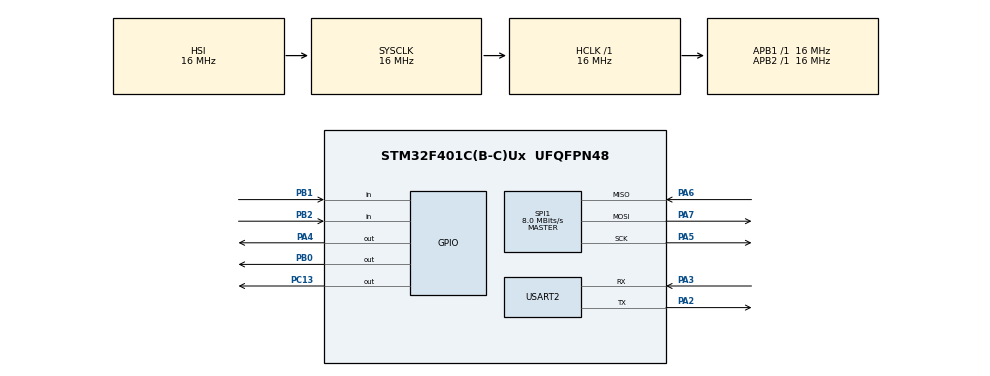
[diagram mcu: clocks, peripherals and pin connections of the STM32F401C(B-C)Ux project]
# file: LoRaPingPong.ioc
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Mcu.Family=STM32F4
Mcu.Name=STM32F401C(B-C)Ux
Mcu.Package=UFQFPN48
NVIC.PriorityGroup=NVIC_PRIORITYGROUP_4
PA2.Mode=Asynchronous
PA2.Signal=USART2_TX
PA3.Mode=Asynchronous
PA3.Signal=USART2_RX
PA4.Signal=GPIO_Output
PA5.Mode=Full_Duplex_Master
PA5.Signal=SPI1_SCK
PA6.Mode=Full_Duplex_Master
PA6.Signal=SPI1_MISO
PA7.Mode=Full_Duplex_Master
PA7.Signal=SPI1_MOSI
PB0.Signal=GPIO_Output
PB1.Signal=GPIO_Input
PB2.Signal=GPIO_Input
PC13-ANTI_TAMP.Signal=GPIO_Output
PH0\ -\ OSC_IN.Mode=HSE-External-Oscillator
PH0\ -\ OSC_IN.Signal=RCC_OSC_IN
PH1\ -\ OSC_OUT.Mode=HSE-External-Oscillator
PH1\ -\ OSC_OUT.Signal=RCC_OSC_OUT
ProjectManager.HeapSize=0x200
ProjectManager.StackSize=0x400
ProjectManager.TargetToolchain=STM32CubeIDE
RCC.48MHZClocksFreq_Value=67200000
RCC.AHBFreq_Value=16000000
RCC.APB1Freq_Value=16000000
RCC.APB1TimFreq_Value=16000000
RCC.APB2Freq_Value=16000000
RCC.APB2TimFreq_Value=16000000
RCC.CortexFreq_Value=16000000
RCC.HCLKFreq_Value=16000000
RCC.HSE_VALUE=20000000
RCC.HSI_VALUE=16000000
RCC.LSE_VALUE=32768
RCC.PLLM=20
RCC.PLLN=336
RCC.PLLP=RCC_PLLP_DIV4
RCC.SYSCLKFreq_VALUE=16000000
RCC.VCOOutputFreq_Value=268800000
SPI1.BaudRatePrescaler=SPI_BAUDRATEPRESCALER_2
SPI1.CRCCalculation=SPI_CRCCALCULATION_DISABLE
SPI1.CalculateBaudRate=8.0 MBits/s
SPI1.Direction=SPI_DIRECTION_2LINES
SPI1.Mode=SPI_MODE_MASTER
SPI1.VirtualType=VM_MASTER
USART2.VirtualMode=VM_ASYNC
VP_CRC_VS_CRC.Mode=CRC_Activate
board=custom

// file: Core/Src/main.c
/* USER CODE BEGIN Header */
/**
  ******************************************************************************
  * @file           : main.c
  * @brief          : Main program body
  ******************************************************************************
  * @attention
  *
  * Copyright (c) 2026 STMicroelectronics.
  * All rights reserved.
  *
  * This software is licensed under terms that can be found in the LICENSE file
  * in the root directory of this software component.
  * If no LICENSE file comes with this software, it is provided AS-IS.
  *
  ******************************************************************************
  */
/* USER CODE END Header */
#include "main.h"

/* USER CODE BEGIN Includes */
#include "link.h"
#include <stdio.h>
#include <string.h>
/* USER CODE END Includes */

CRC_HandleTypeDef hcrc;

SPI_HandleTypeDef hspi1;

UART_HandleTypeDef huart2;

void SystemClock_Config(void);
static void MX_GPIO_Init(void);
static void MX_CRC_Init(void);
static void MX_SPI1_Init(void);
static void MX_USART2_UART_Init(void);

/* USER CODE BEGIN 0 */
/* ── Retarget printf → UART2 ────────────────────────────────── */
int __io_putchar(int ch)
{
    HAL_UART_Transmit(&huart2, (uint8_t *)&ch, 1, HAL_MAX_DELAY);
    return ch;
}
/* USER CODE END 0 */

int main(void)
{

  /* MCU Configuration--------------------------------------------------------*/

  /* Reset of all peripherals, Initializes the Flash interface and the Systick. */
  HAL_Init();

  /* Configure the system clock */
  SystemClock_Config();

  /* Initialize all configured peripherals */
  MX_GPIO_Init();
  MX_CRC_Init();
  MX_SPI1_Init();
  MX_USART2_UART_Init();
  /* USER CODE BEGIN 2 */
#ifdef NodeA
  node_a_init();
#elif defined(NodeB)
  node_b_init();
#else
#error "NODE_A or NODE_B not defined!"
#endif
  /* USER CODE END 2 */

  /* Infinite loop */
  /* USER CODE BEGIN WHILE */
  while (1)
  {
#ifdef NodeA
	  node_a_loop();
#elif defined(NodeB)
	  node_b_loop();
#else
#error "NODE_A or NODE_B not defined!"
#endif
    /* USER CODE END WHILE */

  }
}

void SystemClock_Config(void)
{
  RCC_OscInitTypeDef RCC_OscInitStruct = {0};
  RCC_ClkInitTypeDef RCC_ClkInitStruct = {0};

  /** Configure the main internal regulator output voltage
  */
  __HAL_RCC_PWR_CLK_ENABLE();
  __HAL_PWR_VOLTAGESCALING_CONFIG(PWR_REGULATOR_VOLTAGE_SCALE2);

  /** Initializes the RCC Oscillators according to the specified parameters
  * in the RCC_OscInitTypeDef structure.
  */
  RCC_OscInitStruct.OscillatorType = RCC_OSCILLATORTYPE_HSI;
  RCC_OscInitStruct.HSIState = RCC_HSI_ON;
  RCC_OscInitStruct.HSICalibrationValue = RCC_HSICALIBRATION_DEFAULT;
  RCC_OscInitStruct.PLL.PLLState = RCC_PLL_NONE;
  if (HAL_RCC_OscConfig(&RCC_OscInitStruct) != HAL_OK)
  {
    Error_Handler();
  }

  /** Initializes the CPU, AHB and APB buses clocks
  */
  RCC_ClkInitStruct.ClockType = RCC_CLOCKTYPE_HCLK|RCC_CLOCKTYPE_SYSCLK
                              |RCC_CLOCKTYPE_PCLK1|RCC_CLOCKTYPE_PCLK2;
  RCC_ClkInitStruct.SYSCLKSource = RCC_SYSCLKSOURCE_HSI;
  RCC_ClkInitStruct.AHBCLKDivider = RCC_SYSCLK_DIV1;
  RCC_ClkInitStruct.APB1CLKDivider = RCC_HCLK_DIV1;
  RCC_ClkInitStruct.APB2CLKDivider = RCC_HCLK_DIV1;

  if (HAL_RCC_ClockConfig(&RCC_ClkInitStruct, FLASH_LATENCY_0) != HAL_OK)
  {
    Error_Handler();
  }
}

static void MX_CRC_Init(void)
{

  hcrc.Instance = CRC;
  if (HAL_CRC_Init(&hcrc) != HAL_OK)
  {
    Error_Handler();
  }

}

static void MX_SPI1_Init(void)
{

  /* SPI1 parameter configuration*/
  hspi1.Instance = SPI1;
  hspi1.Init.Mode = SPI_MODE_MASTER;
  hspi1.Init.Direction = SPI_DIRECTION_2LINES;
  hspi1.Init.DataSize = SPI_DATASIZE_8BIT;
  hspi1.Init.CLKPolarity = SPI_POLARITY_LOW;
  hspi1.Init.CLKPhase = SPI_PHASE_1EDGE;
  hspi1.Init.NSS = SPI_NSS_SOFT;
  hspi1.Init.BaudRatePrescaler = SPI_BAUDRATEPRESCALER_2;
  hspi1.Init.FirstBit = SPI_FIRSTBIT_MSB;
  hspi1.Init.TIMode = SPI_TIMODE_DISABLE;
  hspi1.Init.CRCCalculation = SPI_CRCCALCULATION_DISABLE;
  hspi1.Init.CRCPolynomial = 10;
  if (HAL_SPI_Init(&hspi1) != HAL_OK)
  {
    Error_Handler();
  }

}

static void MX_USART2_UART_Init(void)
{

  huart2.Instance = USART2;
  huart2.Init.BaudRate = 115200;
  huart2.Init.WordLength = UART_WORDLENGTH_8B;
  huart2.Init.StopBits = UART_STOPBITS_1;
  huart2.Init.Parity = UART_PARITY_NONE;
  huart2.Init.Mode = UART_MODE_TX_RX;
  huart2.Init.HwFlowCtl = UART_HWCONTROL_NONE;
  huart2.Init.OverSampling = UART_OVERSAMPLING_16;
  if (HAL_UART_Init(&huart2) != HAL_OK)
  {
    Error_Handler();
  }

}

static void MX_GPIO_Init(void)
{
  GPIO_InitTypeDef GPIO_InitStruct = {0};

  /* GPIO Ports Clock Enable */
  __HAL_RCC_GPIOC_CLK_ENABLE();
  __HAL_RCC_GPIOH_CLK_ENABLE();
  __HAL_RCC_GPIOA_CLK_ENABLE();
  __HAL_RCC_GPIOB_CLK_ENABLE();

  /*Configure GPIO pin Output Level */
  HAL_GPIO_WritePin(GPIOC, GPIO_PIN_13, GPIO_PIN_RESET);

  /*Configure GPIO pin Output Level */
  HAL_GPIO_WritePin(GPIOA, GPIO_PIN_4, GPIO_PIN_RESET);

  /*Configure GPIO pin Output Level */
  HAL_GPIO_WritePin(GPIOB, GPIO_PIN_0, GPIO_PIN_RESET);

  /*Configure GPIO pin : PC13 */
  GPIO_InitStruct.Pin = GPIO_PIN_13;
  GPIO_InitStruct.Mode = GPIO_MODE_OUTPUT_PP;
  GPIO_InitStruct.Pull = GPIO_NOPULL;
  GPIO_InitStruct.Speed = GPIO_SPEED_FREQ_LOW;
  HAL_GPIO_Init(GPIOC, &GPIO_InitStruct);

  /*Configure GPIO pin : PA4 */
  GPIO_InitStruct.Pin = GPIO_PIN_4;
  GPIO_InitStruct.Mode = GPIO_MODE_OUTPUT_PP;
  GPIO_InitStruct.Pull = GPIO_NOPULL;
  GPIO_InitStruct.Speed = GPIO_SPEED_FREQ_LOW;
  HAL_GPIO_Init(GPIOA, &GPIO_InitStruct);

  /*Configure GPIO pin : PB0 */
  GPIO_InitStruct.Pin = GPIO_PIN_0;
  GPIO_InitStruct.Mode = GPIO_MODE_OUTPUT_PP;
  GPIO_InitStruct.Pull = GPIO_NOPULL;
  GPIO_InitStruct.Speed = GPIO_SPEED_FREQ_LOW;
  HAL_GPIO_Init(GPIOB, &GPIO_InitStruct);

  /*Configure GPIO pins : PB1 PB2 */
  GPIO_InitStruct.Pin = GPIO_PIN_1|GPIO_PIN_2;
  GPIO_InitStruct.Mode = GPIO_MODE_INPUT;
  GPIO_InitStruct.Pull = GPIO_NOPULL;
  HAL_GPIO_Init(GPIOB, &GPIO_InitStruct);

}

void Error_Handler(void)
{
  __disable_irq();
  while (1)
  {
  }
}
